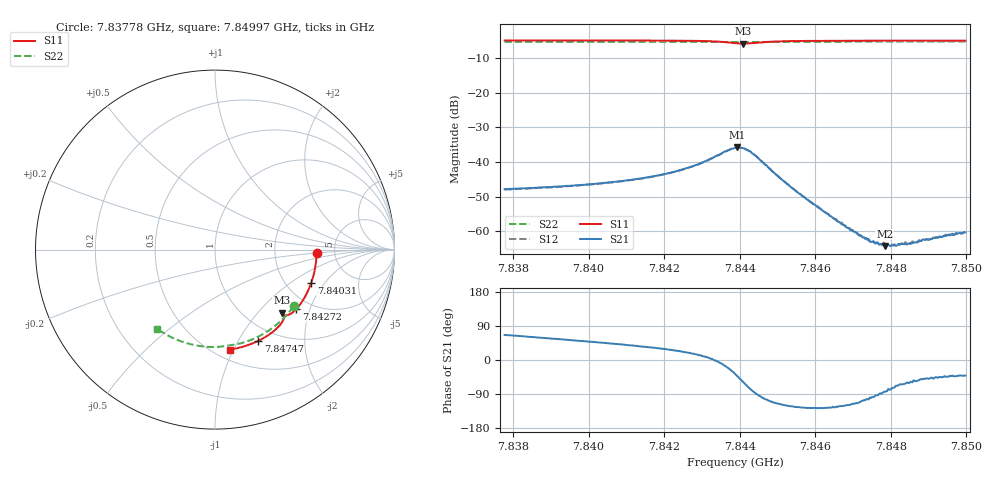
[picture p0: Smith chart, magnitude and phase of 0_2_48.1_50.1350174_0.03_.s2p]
#  HZ  S  RI  R  50.00
! Rohde & Schwarz Vector Network Analyzer
! Rohde-Schwarz,ZNB20-2Port,1311601062101988,3.16
! Created: UTC 12/23/2023, 3:34:33 AM
! freq[Hz]  re:S11  im:S11  re:S21  im:S21  re:S12  im:S12  re:S22  im:S22
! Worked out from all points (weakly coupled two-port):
!   401 points, 7.83778 GHz to 7.84997 GHz, reference 50 ohm
!   highest |S21| = -35.83 dB at 7.84394 GHz (marker M1); lowest = -64.3 dB at 7.84784 GHz (marker M2)
!   lowest |S11| = -5.8 dB at 7.84409 GHz (marker M3), VSWR 3.09, Z = 71.2 - j67.8 ohm
!   |S11| at or under -10 dB: nowhere
!   |S22| runs from -5.4 to -5.3 dB; largest |S21 - S12| = 0.00032
!   S11 on the Smith chart (normalised r, x): 7.83778 GHz: 3.61, -0.18; 7.84031 GHz: 2.73, -1.48; 7.84272 GHz: 1.68, -1.62; 7.84747 GHz: 0.82, -1.22; 7.84997 GHz: 0.59, -0.97
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7.837778e9  0.5666 -0.0173  0.00164 0.0037  0.00164 0.00363  0.4376 -0.3165
7.83982e9  0.5465 -0.1519  0.003 0.00357  0.00297 0.00353  0.3397 -0.4207
7.840308e9  0.5367 -0.1834  0.00341 0.00352  0.00337 0.00352  0.3127 -0.4415
7.841863e9  0.4914 -0.2803  0.00552 0.00329  0.00548 0.00329  0.2179 -0.4957
7.842716e9  0.4536 -0.3308  0.00812 0.00257  0.00805 0.00259  0.1617 -0.517
7.843418e9  0.4074 -0.3641  0.0124 -0.000949  0.0124 -0.000812  0.1136 -0.5285
7.843875e9  0.373 -0.3608  0.0127 -0.00947  0.0129 -0.00936  0.083 -0.5326
7.843936e9  0.3711 -0.3577  0.0119 -0.0109  0.012 -0.0108  0.0793 -0.533
7.844088e9  0.3714 -0.3516  0.00846 -0.0133  0.00841 -0.0132  0.0697 -0.5344
7.84421e9  0.3757 -0.3501  0.00502 -0.014  0.00518 -0.0139  0.0621 -0.5357
7.844424e9  0.3837 -0.358  0.000412 -0.0123  0.00042 -0.0122  0.0484 -0.5384
7.845094e9  0.373 -0.4057  -0.00261 -0.00506  -0.00261 -0.00509  0.0012 -0.5428
7.845918e9  0.3321 -0.4506  -0.00151 -0.00201  -0.00153 -0.00207  -0.0569 -0.5408
7.846649e9  0.2909 -0.4809  -0.000709 -0.00114  -0.000743 -0.00113  -0.108 -0.5335
7.847076e9  0.2655 -0.496  -0.000383 -0.000879  -0.000394 -0.000847  -0.1371 -0.527
7.847472e9  0.2417 -0.5085  -0.000126 -0.000694  -0.000129 -0.000718  -0.1641 -0.5195
7.847655e9  0.2306 -0.5136  -3.46e-05 -0.000684  -1.36e-05 -0.000666  -0.1762 -0.5158
7.847838e9  0.2193 -0.5187  7.1e-05 -0.000608  3.83e-05 -0.000659  -0.1884 -0.5116
7.84796e9  0.2116 -0.5217  0.000131 -0.000609  0.000124 -0.000608  -0.1965 -0.5084
7.84854e9  0.1752 -0.5351  0.000361 -0.000569  0.000365 -0.000548  -0.234 -0.4926
7.848875e9  0.1537 -0.5417  0.000479 -0.00058  0.000504 -0.000569  -0.2552 -0.4823
7.849972e9  0.0822 -0.5568  0.000725 -0.000628  0.000737 -0.000647  -0.3207 -0.4423
